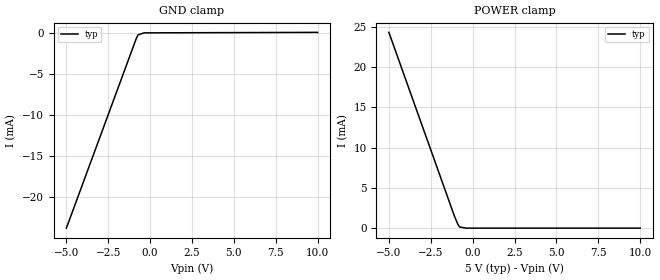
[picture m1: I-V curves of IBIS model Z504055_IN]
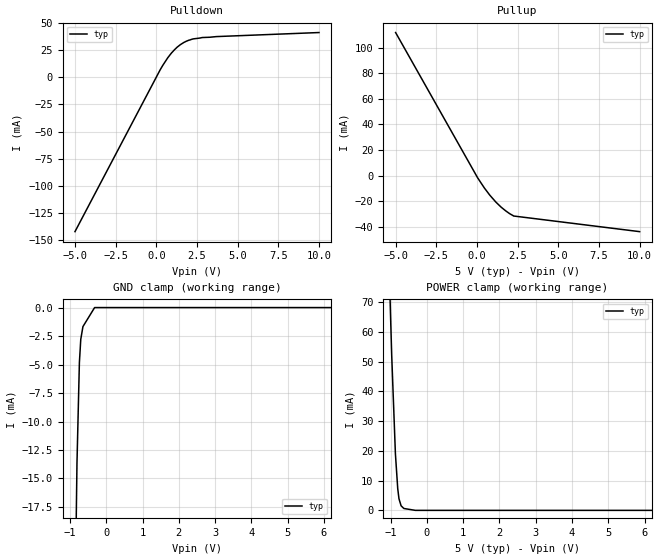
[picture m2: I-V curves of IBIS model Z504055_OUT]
| YOU ARE ONLY AUTHORIZED TO USE THIS SOFTWARE
| ACCORDING TO LICENSOR'S LICENSE RESTRICTIONS.
[IBIS Ver] 3.1
[File Name] mc54hc11j.ibs
[File Rev] 2.0
[Source] Measured and created by ICX Technology
[Date] Friday 7/14/00 9:08:06 AM
[Copyright]
| (C) COPYRIGHT 1993-2000
| MENTOR GRAPHICS CORPORATION
| ICX STANDARD LIBRARY, ICX PROJECT MODELING,
| ICX CUSTOM MODELING, ICX VENDOR MODEL
| ALL RIGHTS RESERVED.
| THE FOLLOWING ARE TRADEMARKS OR SERVICE MARKS OF
| MENTOR GRAPHICS CORPORATION:ICX (R), ICX STANDARD
| LIBRARY(R), ICX PROJECT MODELING(R), ICX CUSTOM
| MODELING(R), qualityIBIS(TM), MODELVIEWER(TM),
| AND MODELEDITOR(TM)
| ALL COPIES OF SOFTWARE, INCLUDING BUT NOT LIMITED TO
| ANY MODIFICATIONS, ENHANCEMENTS OR DERIVATIVE WORKS,
| MUST CONTAIN ALL MENTOR GRAPHICS CORPORATION'S
| NOTICES AND LEGENDS, INCLUDING THOSE EMBEDDED IN
| SOFTWARE AND THOSE AFFIXED TO SOFTWARE MEDIUM
| AND CONTAINER, AS RECEIVED FROM MENTOR GRAPHICS
| CORPORATION.
|  ZAP Model Builder 2.7
[Component] MC54HC11J
[Manufacturer] OnSemiconductor
[Package]
| variable   typ   min   max
R_pkg  .21ohms NA NA
L_pkg  4.543nH NA NA
C_pkg  1.8pF NA NA
[Pin] signal_name  model_name  R_pin  L_pin C_pin
1 A Z504055_IN .22 6.757n 2.434p
2 B Z504055_IN .212 4.757n 1.941p
3 A Z504055_IN .204 3.257n 1.448p
4 B Z504055_IN .196 2.257n .955p
5 C Z504055_IN .204 3.257n 1.448p
6 Y Z504055_OUT .212 4.757n 1.941p
7 GND GND .22 6.757n 2.434p
8 Y Z504055_OUT .22 6.757n 2.434p
9 A Z504055_IN .212 4.757n 1.941p
10 B Z504055_IN .204 3.257n 1.448p
11 C Z504055_IN .196 2.257n .955p
12 Y Z504055_OUT .204 3.257n 1.448p
13 C Z504055_IN .212 4.757n 1.941p
14 VCC POWER .22 6.757n 2.434p
| Models and submodels in the file (2): Z504055_IN (Input), Z504055_OUT (Output)
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| (C) COPYRIGHT 1993-2000
| MENTOR GRAPHICS CORPORATION
| ICX STANDARD LIBRARY, ICX PROJECT MODELING,
| ICX CUSTOM MODELING, ICX VENDOR MODEL
| ALL RIGHTS RESERVED.
| THE FOLLOWING ARE TRADEMARKS OR SERVICE MARKS OF
| MENTOR GRAPHICS CORPORATION:ICX (R), ICX STANDARD
| LIBRARY(R), ICX PROJECT MODELING(R), ICX CUSTOM
| MODELING(R), qualityIBIS(TM), MODELVIEWER(TM),
| AND MODELEDITOR(TM)
| ALL COPIES OF SOFTWARE, INCLUDING BUT NOT LIMITED TO
| ANY MODIFICATIONS, ENHANCEMENTS OR DERIVATIVE WORKS,
| MUST CONTAIN ALL MENTOR GRAPHICS CORPORATION'S
| NOTICES AND LEGENDS, INCLUDING THOSE EMBEDDED IN
| SOFTWARE AND THOSE AFFIXED TO SOFTWARE MEDIUM
| AND CONTAINER, AS RECEIVED FROM MENTOR GRAPHICS
| CORPORATION.
| Model Application Version 1.89 2/18/99.
[Model] Z504055_IN
Model_type Input
Vinl = 1.000V
Vinh = 3.500V
C_comp 4.000pF NA NA
| variable typ   min   max
[Voltage Range] 5.000V NA NA
[GND Clamp Reference] 0.000V NA NA
[POWER Clamp Reference] 5.000V NA NA
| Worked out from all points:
|   POWER clamp passes 1 mA (typ) near -0.99 V on its own axis
[GND Clamp]
-5V       -23.79mA   NA         NA
-839.8mV  -779.6uA   NA         NA
-727.4mV  -276.8uA   NA         NA
-363.7mV  -24.02uA   NA         NA
10V       35.51uA    NA         NA
[POWER Clamp]
-5V       24.29mA    NA         NA
-1.093V   1.522mA    NA         NA
-903mV    575.5uA    NA         NA
-789mV    153.1uA    NA         NA
-394.5mV  0A         NA         NA
10V       0A         NA         NA
| (C) COPYRIGHT 1993-2000
| MENTOR GRAPHICS CORPORATION
| ICX STANDARD LIBRARY, ICX PROJECT MODELING,
| ICX CUSTOM MODELING, ICX VENDOR MODEL
| ALL RIGHTS RESERVED.
| THE FOLLOWING ARE TRADEMARKS OR SERVICE MARKS OF
| MENTOR GRAPHICS CORPORATION:ICX (R), ICX STANDARD
| LIBRARY(R), ICX PROJECT MODELING(R), ICX CUSTOM
| MODELING(R), qualityIBIS(TM), MODELVIEWER(TM),
| AND MODELEDITOR(TM)
| ALL COPIES OF SOFTWARE, INCLUDING BUT NOT LIMITED TO
| ANY MODIFICATIONS, ENHANCEMENTS OR DERIVATIVE WORKS,
| MUST CONTAIN ALL MENTOR GRAPHICS CORPORATION'S
| NOTICES AND LEGENDS, INCLUDING THOSE EMBEDDED IN
| SOFTWARE AND THOSE AFFIXED TO SOFTWARE MEDIUM
| AND CONTAINER, AS RECEIVED FROM MENTOR GRAPHICS
| CORPORATION.
| Model Application Version 1.89 2/18/99.
[Model] Z504055_OUT
Model_type Output
Vref=0.000V
Rref=500.0Mohms
Cref=50.00pF
Vmeas=2.500V
C_comp 8.000pF NA NA
| variable typ   min   max
[Voltage Range] 5.000V NA NA
[POWER Clamp Reference] 5.000V NA NA
[Pullup Reference] 5.000V NA NA
[Pulldown Reference] 0.000V NA NA
[GND Clamp Reference] 0.000V NA NA
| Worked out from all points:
|   slope of the pulldown table from 0 to 0.75 V, typ, clamps not added: 40.1 ohm
|   slope of the pullup table from 0 to 0.75 V, typ, clamps not added: 54.2 ohm
|   POWER clamp passes 1 mA (typ) near -0.67 V on its own axis
[GND Clamp]
-5V       -921.5mA   NA         NA
-1.056V   -73.13mA   NA         NA
-808.8mV  -13.69mA   NA         NA
-742.2mV  -4.839mA   NA         NA
-704mV    -2.793mA   NA         NA
-644.5mV  -1.671mA   NA         NA
-322.3mV  0A         NA         NA
10V       0A         NA         NA
[Pulldown]
-5V       -141.9mA   NA         NA
240.4mV   6.808mA    NA         NA
706.6mV   17.83mA    NA         NA
1.274V    27.41mA    NA         NA
1.689V    31.8mA     NA         NA
2.007V    33.94mA    NA         NA
2.822V    36.35mA    NA         NA
10V       40.94mA    NA         NA
[Pullup]
-5V       111.9mA    NA         NA
43mV      -1.699mA   NA         NA
454mV     -9.593mA   NA         NA
787mV     -15.2mA    NA         NA
1.162V    -20.65mA   NA         NA
1.494V    -24.71mA   NA         NA
1.772V    -27.56mA   NA         NA
2.007V    -29.69mA   NA         NA
2.227V    -31.29mA   NA         NA
2.246V    -31.54mA   NA         NA
10V       -43.78mA   NA         NA
[POWER Clamp]
-5V       1.748A     NA         NA
-972mV    52.44mA    NA         NA
-869mV    19.04mA    NA         NA
-805mV    7.318mA    NA         NA
-771mV    3.914mA    NA         NA
-712mV    1.523mA    NA         NA
-635mV    627.3uA    NA         NA
-317.5mV  0A         NA         NA
10V       0A         NA         NA
[Ramp]
| variable typ min max
dV/dt_r 2.742/1.970n NA NA
dV/dt_f 2.742/1.723n NA NA
R_load = 500.0Ohms
